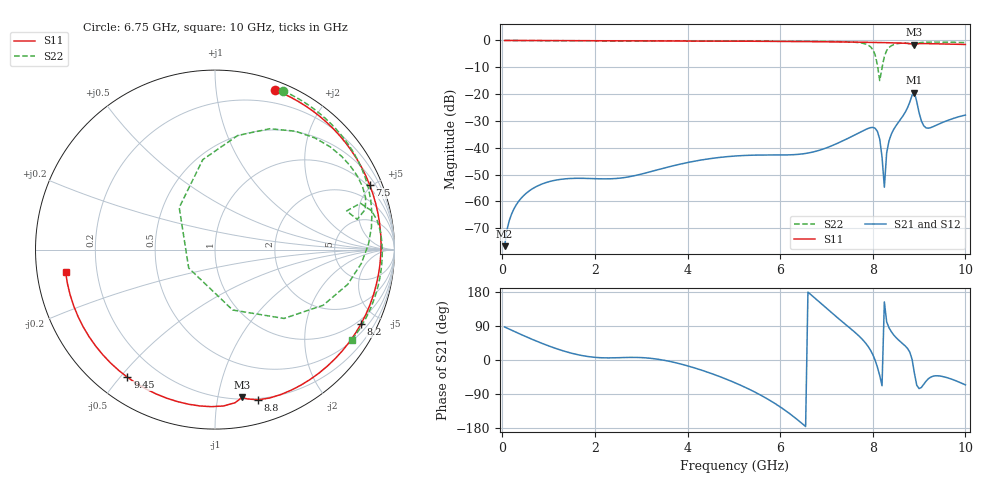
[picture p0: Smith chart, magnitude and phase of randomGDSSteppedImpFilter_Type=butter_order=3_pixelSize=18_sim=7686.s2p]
! freq	dB(S11)	phase(S11)	dB(S12)	phase(S12)
!  dB(S21)	phase(S21)	dB(S22)	phase(S22)
!S-par simulation data
#  GHz  S  DB  R 50
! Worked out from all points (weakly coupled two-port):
!   200 points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, 50 MHz to 10 GHz, reference 50 ohm
!   highest |S21| = -19.47 dB at 8.9 GHz (marker M1); lowest = -76.7 dB at 50 MHz (marker M2)
!   lowest |S11| = -1.5 dB at 8.9 GHz (marker M3), VSWR 11.29, Z = 10.7 - j58.8 ohm
!   |S11| at or under -10 dB: nowhere
!   |S22| runs from -14.9 to 0.0 dB; largest |S21 - S12| = 0
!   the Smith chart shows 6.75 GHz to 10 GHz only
!   S11 on the Smith chart (normalised r, x): 6.75 GHz: 0.08, +1.44; 7.5 GHz: 0.85, +4.84; 8.2 GHz: 0.80, -4.01; 8.8 GHz: 0.19, -1.31; 9.45 GHz: 0.09, -0.52; 10 GHz: 0.09, -0.07
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0.05  -0.00 -2.4  -76.68 87.2  -76.68 87.2  -0.00 -3.3
0.2  -0.01 -9.6  -64.72 78.7  -64.72 78.7  -0.02 -13.2
0.5  -0.03 -23.7  -57.20 62.2  -57.20 62.2  -0.04 -32.6
1.75  -0.10 -79.8  -51.39 11.1  -51.39 11.1  -0.11 -103.5
3.4  -0.17 -145.1  -48.00 1.2  -48.00 1.2  -0.16 -172.6
5.05  -0.27 151.2  -43.04 -61.4  -43.04 -61.4  -0.22 129.5
6  -0.35 108.8  -42.70 -123.7  -42.70 -123.7  -0.27 95.7
6.7  -0.44 72.1  -41.62 168.5  -41.62 168.5  -0.32 68.9
6.75  -0.45 69.3  -41.40 163.1  -41.40 163.1  -0.33 66.9
7.5  -0.59 22.7  -36.19 85.1  -36.19 85.1  -0.56 31.6
7.85  -0.68 -1.5  -33.16 43.9  -33.16 43.9  -1.36 2.0
8.05  -0.74 -15.9  -32.71 -0.4  -32.71 -0.4  -5.30 -44.9
8.15  -0.77 -23.3  -36.78 -41.0  -36.78 -41.0  -14.94 -144.9
8.2  -0.79 -27.0  -43.40 -67.9  -43.40 -67.9  -10.24 130.4
8.25  -0.81 -30.8  -54.72 153.3  -54.72 153.3  -5.92 97.7
8.3  -0.83 -34.6  -41.91 100.6  -41.91 100.6  -3.77 78.8
8.35  -0.85 -38.4  -37.46 85.3  -37.46 85.3  -2.62 65.7
8.8  -1.20 -74.0  -22.95 20.6  -22.95 20.6  -1.24 15.0
8.9  -1.54 -79.7  -19.47 -35.6  -19.47 -35.6  -2.34 16.4
9.1  -1.16 -95.5  -31.79 -64.4  -31.79 -64.4  -0.67 7.0
9.45  -1.28 -124.5  -30.97 -42.3  -30.97 -42.3  -0.61 -10.2
10  -1.50 -171.6  -27.81 -65.6  -27.81 -65.6  -0.79 -33.5
